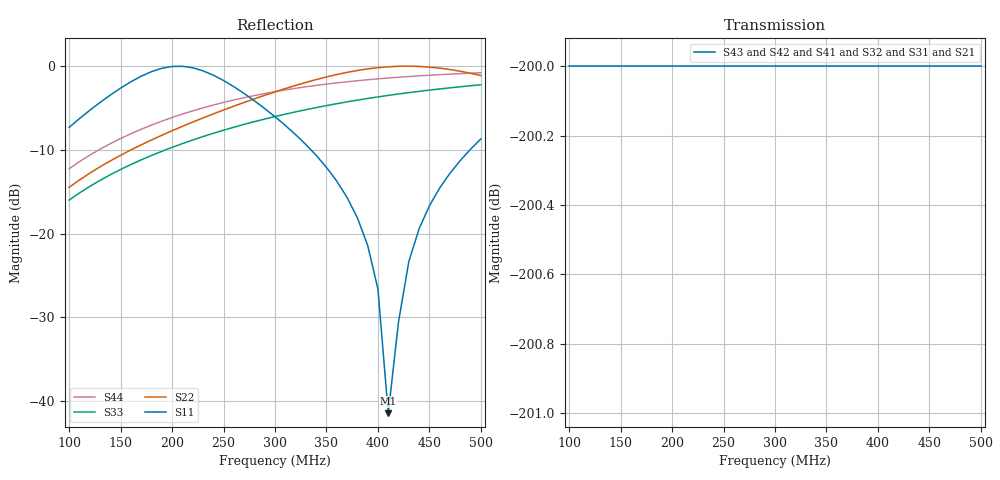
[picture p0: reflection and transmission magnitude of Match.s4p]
! AWR Design Environment (12629) Mon Dec  5 14:20:58 2022
! Document = 'Match'
! nPorts: 4, nXvals: 41
# MHz S DB R 50
!Freq DBS11 AngS11 DBS12 AngS12 DBS13 AngS13 DBS14 AngS14
!	DBS21 AngS21 DBS22 AngS22 DBS23 AngS23 DBS24 AngS24
!	DBS31 AngS31 DBS32 AngS32 DBS33 AngS33 DBS34 AngS34
!	DBS41 AngS41 DBS42 AngS42 DBS43 AngS43 DBS44 AngS44
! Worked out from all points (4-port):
!   41 points, 100 MHz to 500 MHz, reference 50 ohm
!   strongest paths, dB at 100 MHz, 200 MHz, 300 MHz, 400 MHz, 500 MHz:
!     S43: -, -, -, -, -
!     S42: -, -, -, -, -
!     S41: -, -, -, -, -
!     S32: -, -, -, -, -
!     S31: -, -, -, -, -
!     S21: -, -, -, -, -
!   lowest |S11| = -41.5 dB at 410 MHz (marker M1), VSWR 1.02, Z = 50.2 - j0.812 ohm
!   |S11| at or under -10 dB: 334.9 MHz to 489.4 MHz (154.5 MHz wide, 37.5 % of centre)
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100  -7.32 -155.4  -800.00 0.0  -800.00 0.0  -800.00 0.0
     -800.00 0.0  -14.48 173.9  -800.00 0.0  -800.00 0.0
     -800.00 0.0  -800.00 0.0  -16.00 58.3  -800.00 0.0
     -800.00 0.0  -800.00 0.0  -800.00 0.0  -12.26 46.1
210  -0.02 92.7  -800.00 0.0  -800.00 0.0  -800.00 0.0
     -800.00 0.0  -7.19 65.2  -800.00 0.0  -800.00 0.0
     -800.00 0.0  -800.00 0.0  -9.25 24.7  -800.00 0.0
     -800.00 0.0  -800.00 0.0  -800.00 0.0  -5.73 1.0
290  -5.07 8.1  -800.00 0.0  -800.00 0.0  -800.00 0.0
     -800.00 0.0  -3.48 -19.1  -800.00 0.0  -800.00 0.0
     -800.00 0.0  -800.00 0.0  -6.32 1.8  -800.00 0.0
     -800.00 0.0  -800.00 0.0  -800.00 0.0  -3.27 -27.4
380  -18.11 -54.6  -800.00 0.0  -800.00 0.0  -800.00 0.0
     -800.00 0.0  -0.52 -124.2  -800.00 0.0  -800.00 0.0
     -800.00 0.0  -800.00 0.0  -4.06 -21.6  -800.00 0.0
     -800.00 0.0  -800.00 0.0  -800.00 0.0  -1.74 -53.5
410  -41.48 -73.2  -800.00 0.0  -800.00 0.0  -800.00 0.0
     -800.00 0.0  -0.07 -161.8  -800.00 0.0  -800.00 0.0
     -800.00 0.0  -800.00 0.0  -3.50 -28.8  -800.00 0.0
     -800.00 0.0  -800.00 0.0  -800.00 0.0  -1.42 -60.8
440  -19.42 88.2  -800.00 0.0  -800.00 0.0  -800.00 0.0
     -800.00 0.0  -0.03 160.0  -800.00 0.0  -800.00 0.0
     -800.00 0.0  -800.00 0.0  -3.01 -35.6  -800.00 0.0
     -800.00 0.0  -800.00 0.0  -800.00 0.0  -1.16 -67.5
500  -8.69 48.8  -800.00 0.0  -800.00 0.0  -800.00 0.0
     -800.00 0.0  -1.12 85.5  -800.00 0.0  -800.00 0.0
     -800.00 0.0  -800.00 0.0  -2.23 -48.2  -800.00 0.0
     -800.00 0.0  -800.00 0.0  -800.00 0.0  -0.79 -79.2
